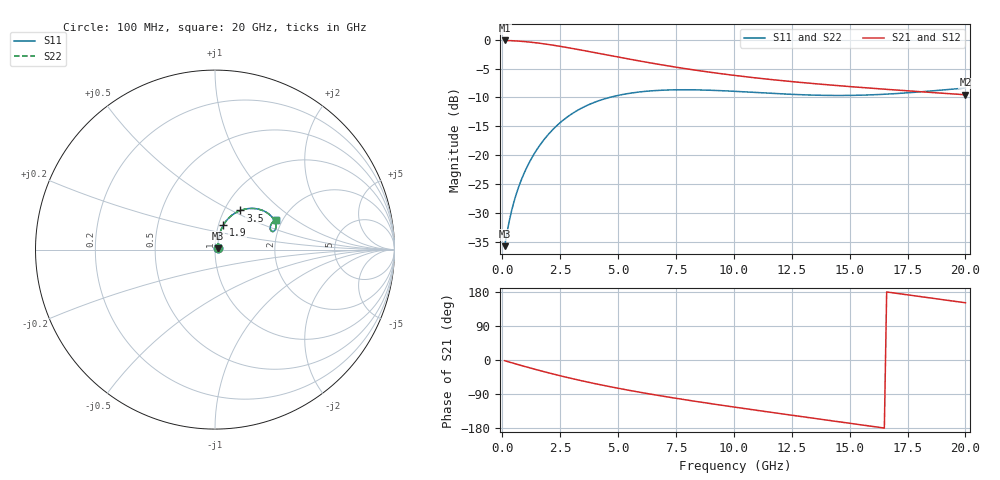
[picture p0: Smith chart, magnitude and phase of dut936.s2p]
! Touchstone file exported from HFSS 2024.1.0
!  File:  C:/UserFiles/LocalFiles/RDL_TSV_Batchsim/temp_RDL_TSV_936_1779961794.aedt
!  Generated:  06:08:29 PM May 28, 2026
!  Design:  RDL_TSV
!  Project:  temp_RDL_TSV_936_1779961794
!  Setup:  Setup1
!  Solution:  Sweep
! Variables:
!  dtsv = 7.91um
!  hbump = 3um
!  htsv = 62.63um
!  ldown = 161.83um
!  lrdl = 675.38um
!  p = 40
!  p1 = 57.02um
!  rhole = 10um
!  subl = 3187.01um
!  t = 450um
!  tdown = 4.23um
!  trdl = 4.76um
!  viad = 10um
!  wdown = 16.54um
!  wrdl = 18.46um
!  xbump = 18um
# GHz S MA R 50.000000
! Terminal data exported
! Port[1] = TM1_1_T1
! Port[2] = TM1_4_T1
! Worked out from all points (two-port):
!   200 points, 100 MHz to 20 GHz, reference 50 ohm
!   highest |S21| = -0.13 dB at 100 MHz (marker M1); lowest = -9.5 dB at 20 GHz (marker M2)
!   |S21| within 3 dB of the highest: start of sweep to 5.171 GHz
!   lowest |S11| = -35.8 dB at 100 MHz (marker M3), VSWR 1.03, Z = 51.5 + j0.775 ohm
!   |S11| at or under -10 dB: start of sweep to 4.639 GHz
!   |S22| runs from -35.8 to -8.4 dB; largest |S21 - S12| = 1.6e-14
!   S11 on the Smith chart (normalised r, x): 100 MHz: 1.03, +0.02; 1.9 GHz: 1.06, +0.29; 3.5 GHz: 1.19, +0.56; 20 GHz: 1.86, +0.73
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0.1  0.01623 27.6  0.9854 -1.8  0.9854 -1.8  0.01623 27.6
! Gamma 0 0 0 0
! Port Impedance 50 0 50 0
0.3  0.02675 53.9  0.9826 -5.4  0.9826 -5.4  0.02675 53.9
0.4  0.03282 59.9  0.9807 -7.2  0.9807 -7.2  0.03283 59.9
0.6  0.0457 67.0  0.9759 -10.7  0.9759 -10.7  0.0457 67.0
0.8  0.0594 70.7  0.9697 -14.2  0.9697 -14.2  0.0594 70.7
1  0.07381 72.6  0.9622 -17.6  0.9622 -17.6  0.0738 72.6
1.3  0.09648 73.4  0.9486 -22.7  0.9486 -22.7  0.09647 73.4
1.6  0.12 72.8  0.9327 -27.6  0.9327 -27.6  0.12 72.8
1.9  0.144 71.2  0.9151 -32.4  0.9151 -32.4  0.144 71.2
2.6  0.1987 65.6  0.8694 -43.1  0.8694 -43.1  0.1986 65.6
3.5  0.2599 57.0  0.8071 -55.8  0.8071 -55.8  0.2599 57.0
4.2  0.2975 50.3  0.7594 -64.9  0.7594 -64.9  0.2974 50.3
4.9  0.3258 44.2  0.7142 -73.4  0.7142 -73.4  0.3257 44.2
5.8  0.3501 37.3  0.6612 -83.6  0.6612 -83.6  0.3499 37.2
6.8  0.3642 30.9  0.6097 -94.1  0.6097 -94.1  0.364 30.9
8.4  0.3674 23.4  0.5426 -109.6  0.5426 -109.6  0.3672 23.4
10.1  0.3565 18.8  0.4885 -125.0  0.4885 -125.0  0.3563 18.8
11.7  0.3424 17.3  0.4496 -138.9  0.4496 -138.9  0.3421 17.3
13.4  0.331 18.2  0.4173 -153.4  0.4173 -153.4  0.3307 18.2
15  0.329 20.6  0.3925 -166.9  0.3925 -166.9  0.3287 20.6
16.7  0.3384 23.5  0.3701 178.7  0.3701 178.7  0.3381 23.5
20  0.3813 26.0  0.3335 151.0  0.3335 151.0  0.3811 26.0
